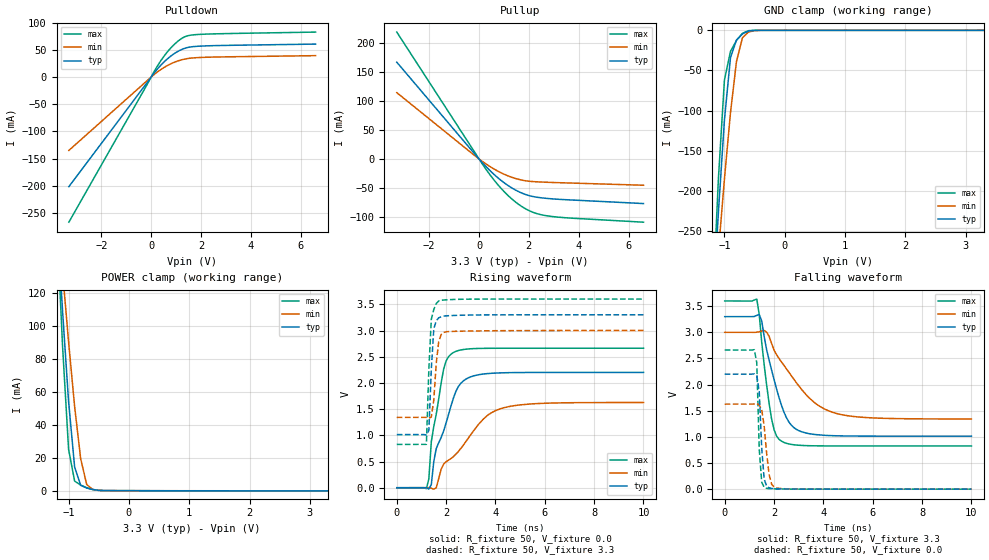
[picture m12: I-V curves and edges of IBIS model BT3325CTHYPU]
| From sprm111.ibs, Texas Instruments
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[Model]   BT3325CTHYPU
Model_type   I/O
Vinh = 2.00
Vinl = 0.80
Enable   Active-Low
Polarity   Non-Inverting
| signals   A, GZ, Y
Vmeas = 1.5
|   typ   min   max
C_comp   1.5797p   1.5046p   1.7659p
|   typ   min   max
[Temperature Range]   25   -40   125
|   typ   min   max
[Voltage Range]   3.30V   3.00V   3.60V
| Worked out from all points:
|   slope of the pulldown table from 0 to 0.495 V, typ, clamps not added: 18.4 ohm
|   slope of the pullup table from 0 to 0.495 V, typ, clamps not added: 22.1 ohm
|   GND clamp passes 1 mA (typ) near -0.60 V on its own axis
|   POWER clamp passes 1 mA (typ) near -0.63 V on its own axis
|   rising waveform, R_fixture 50, V_fixture 0.0: 20-80 % time 848ps typ, 1.71ns min, 497ps max; typ from 0 V to 2.2 V
|   falling waveform, R_fixture 50, V_fixture 3.3: 20-80 % time 774ps typ, 1.6ns min, 432ps max; typ from 3.3 V to 1.01 V
|   rising waveform, R_fixture 50, V_fixture 3.3: 20-80 % time 143ps typ, 171ps min, 144ps max; typ from 1.01 V to 3.3 V
|   falling waveform, R_fixture 50, V_fixture 0.0: 20-80 % time 148ps typ, 218ps min, 120ps max; typ from 2.2 V to 0 V
[Pulldown]
|   Voltage   I(typ)   I(min)   I(max)
-3.3V     -201.5mA   -134.9mA   -267mA
200mV     11.94mA    7.607mA    16.41mA
600mV     31.43mA    19.94mA    43.44mA
800mV     39.06mA    24.71mA    54.18mA
1.1V      47.98mA    30.18mA    66.99mA
1.4V      53.8mA     33.69mA    75.19mA
1.9V      56.89mA    36.01mA    78.53mA
6.6V      60.8mA     39.52mA    82.88mA
[GND_clamp]
|   Voltage   I(typ)   I(min)   I(max)
-3.3V     -3.359A    -2.535A    -4.36A
-1.2V     -355mA     -371.1mA   -350mA
-1.1V     -226.8mA   -276.2mA   -185.1mA
-1V       -111.9mA   -185.5mA   -62.01mA
-900mV    -34.22mA   -103mA     -26.29mA
-800mV    -12.03mA   -38.74mA   -12.65mA
-700mV    -4.384mA   -9.072mA   -3.684mA
-600mV    -848.8uA   -2.124mA   -417.4uA
-400mV    -4.328uA   -46.41uA   -434.3nA
3.3V      222pA      2.083uA    133.2pA
[Pullup]
|   Voltage   I(typ)   I(min)   I(max)
-3.3V     167.1mA    114.5mA    219.1mA
-200mV    10mA       6.709mA    13.35mA
300mV     -14.08mA   -9.224mA   -19.1mA
600mV     -26.64mA   -17.31mA   -36.28mA
900mV     -37.6mA    -24.2mA    -51.46mA
1.2V      -46.92mA   -29.85mA   -64.58mA
1.5V      -54.52mA   -34.2mA    -75.6mA
1.8V      -60.33mA   -37.21mA   -84.43mA
2.1V      -64.3mA    -38.86mA   -91.01mA
2.7V      -68.04mA   -40.24mA   -98mA
3.6V      -70.63mA   -41.51mA   -101.9mA
6.6V      -77.05mA   -45.41mA   -109.2mA
[POWER_clamp]
|   Voltage   I(typ)   I(min)   I(max)
-3.3V     1.576A     1.191A     2.045A
-1.2V     169.8mA    177.9mA    166.5mA
-1.1V     109.3mA    133.2mA    87.92mA
-1V       54.23mA    90.45mA    25.1mA
-900mV    14.35mA    51.17mA    5.826mA
-800mV    3.269mA    19.53mA    3.421mA
-700mV    1.617mA    3.736mA    1.806mA
-600mV    705uA      738uA      676uA
-500mV    198.5uA    185uA      148.6uA
3.3V      -108.3uA   -67.78uA   -162.1uA
[Ramp]
|   I(typ)   I(min)   I(max)
dV/dt_r   1.320/0.846n   0.976/1.712n   1.597/0.499n
dV/dt_f   1.372/0.778n   0.995/1.602n   1.664/0.434n
[Rising Waveform]
R_fixture = 50
V_fixture = 0.0
|  pu_on
|  TIME   V(typ)   V(min)   V(max)
0s        2nV        12nV       1nV
1.2ns     2.163mV    1.088mV    -18.76mV
1.3ns     -25.5mV    1.603mV    168.2mV
1.4ns     61.18mV    -9.166mV   879.3mV
1.6ns     747.7mV    -1.531mV   1.404V
1.9ns     1.085V     450mV      2.265V
2.3ns     1.717V     595.5mV    2.581V
2.9ns     2.097V     946.6mV    2.648V
4.3ns     2.193V     1.521V     2.662V
10ns      2.2V       1.626V     2.662V
[Falling Waveform]
R_fixture = 50
V_fixture = 3.3
V_fixture_min = 3.0
V_fixture_max = 3.6
|  pd_on
|  TIME   V(typ)   V(min)   V(max)
0s        3.3V       3V         3.6V
1.3ns     3.323V     3.002V     3.636V
1.4ns     3.339V     3.011V     3.341V
1.5ns     3.218V     3.025V     2.81V
1.9ns     2.281V     2.788V     1.345V
2.1ns     1.922V     2.573V     1.019V
2.3ns     1.607V     2.434V     919.1mV
2.9ns     1.145V     2.04V      844.4mV
4.4ns     1.023V     1.466V     826.9mV
10ns      1.014V     1.342V     826.4mV
[Rising Waveform]
R_fixture = 50
V_fixture = 3.3
V_fixture_min = 3.0
V_fixture_max = 3.6
|  pd_off
|  TIME   V(typ)   V(min)   V(max)
0s        1.014V     1.342V     826.4mV
1.2ns     1.007V     1.343V     827.5mV
1.3ns     1.093V     1.327V     2.263V
1.4ns     2.27V      1.349V     3.214V
1.5ns     3.031V     1.673V     3.401V
1.6ns     3.188V     2.376V     3.515V
1.7ns     3.242V     2.79V      3.564V
1.8ns     3.264V     2.922V     3.577V
2.1ns     3.283V     2.98V      3.588V
10ns      3.3V       3V         3.6V
[Falling Waveform]
R_fixture = 50
V_fixture = 0.0
|  pu_off
|  TIME   V(typ)   V(min)   V(max)
0s        2.2V       1.626V     2.662V
1.2ns     2.206V     1.629V     2.668V
1.3ns     2.178V     1.635V     2.417V
1.4ns     1.865V     1.612V     768.6mV
1.5ns     784.7mV    1.521V     134.6mV
1.6ns     191.8mV    1.208V     33.88mV
1.8ns     25.86mV    278.8mV    9.419mV
1.9ns     14.36mV    98.04mV    7.25mV
2.1ns     7.451mV    23.25mV    4.834mV
10ns      518nV      6.451uV    530nV
